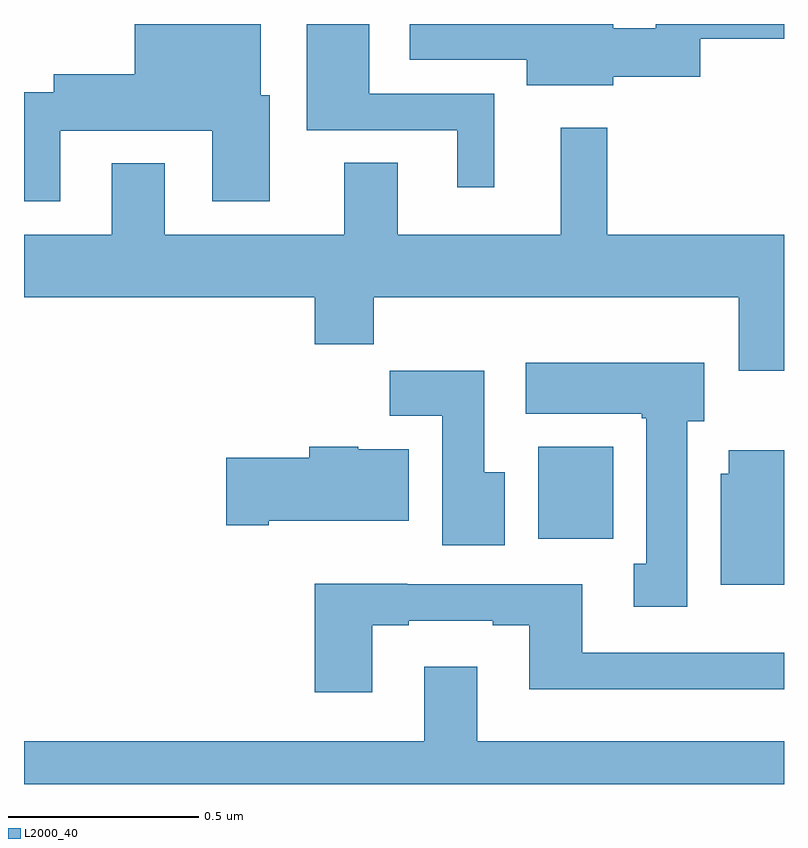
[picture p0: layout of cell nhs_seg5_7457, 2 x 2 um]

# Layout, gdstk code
import gdstk
lib = gdstk.Library(unit=1e-6, precision=1e-09)
def R(c, l, rs):  # rectangles x0, y0, x1, y1
    for r in rs: c.add(gdstk.rectangle(r[:2], r[2:], *l))
def P(c, l, *ps):  # polygons
    for p in ps: c.add(gdstk.Polygon(p, *l))
L2000_40 = (2000, 40)

nhs_seg5_7457 = lib.new_cell('nhs_seg5_7457')
R(nhs_seg5_7457, L2000_40, [(210.353,869.444,210.55,869.686)])
P(nhs_seg5_7457, L2000_40, [(210.55,870.66),(210.779,870.66),(210.779,870.76),(211,870.76),(211,870.799),(210.663,870.799),(210.663,870.788),(210.55,870.788),(210.55,870.799),(210.015,870.799),(210.015,870.705),(210.323,870.705),(210.323,870.638),(210.55,870.638)],
  [(210.238,870.615),(209.908,870.615),(209.908,870.799),(209.744,870.799),(209.744,870.519),(210.14,870.519),(210.14,870.369),(210.238,870.369)],
  [(209.095,870.518),(209.495,870.518),(209.495,870.333),(209.647,870.333),(209.647,870.612),(209.623,870.612),(209.623,870.799),(209.291,870.799),(209.291,870.667),(209.078,870.667),(209.078,870.62),(209,870.62),(209,870.333),(209.095,870.333)],
  [(211,870.244),(210.535,870.244),(210.535,870.526),(210.413,870.526),(210.413,870.244),(209.983,870.244),(209.983,870.434),(209.843,870.434),(209.843,870.244),(209.371,870.244),(209.371,870.433),(209.231,870.433),(209.231,870.244),(209,870.244),(209,870.08),(209.765,870.08),(209.765,869.956),(209.921,869.956),(209.921,870.08),(210.881,870.08),(210.881,869.886),(211,869.886)],
  [(210.745,869.754),(210.79,869.754),(210.79,869.908),(210.321,869.908),(210.321,869.774),(210.625,869.774),(210.625,869.761),(210.638,869.761),(210.638,869.378),(210.605,869.378),(210.605,869.265),(210.745,869.265)],
  [(210.265,869.62),(210.211,869.62),(210.211,869.887),(209.962,869.887),(209.962,869.768),(210.101,869.768),(210.101,869.427),(210.265,869.427)],
  [(209.644,869.492),(210.013,869.492),(210.013,869.68),(209.88,869.68),(209.88,869.686),(209.75,869.686),(209.75,869.658),(209.532,869.658),(209.532,869.48),(209.644,869.48)],
  [(211,869.677),(210.854,869.677),(210.854,869.616),(210.833,869.616),(210.833,869.324),(211,869.324)],
  [(209.917,869.217),(210.013,869.217),(210.013,869.229),(210.233,869.229),(210.233,869.217),(210.329,869.217),(210.329,869.048),(211,869.048),(211,869.145),(210.469,869.145),(210.469,869.325),(210.009,869.325),(210.009,869.326),(209.765,869.326),(209.765,869.04),(209.917,869.04)],
  [(211,868.912),(210.193,868.912),(210.193,869.107),(210.053,869.107),(210.053,868.912),(209,868.912),(209,868.799),(211,868.799)])

lib.write_gds('nhs_seg5_7457.gds')
